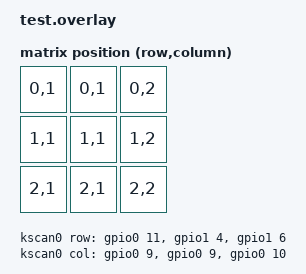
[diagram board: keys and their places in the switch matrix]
// kbd3x3.overlay
#include <dt-bindings/zmk/matrix_transform.h>

/ {
    kscan0: kscan0 {
        compatible = "zmk,kscan-gpio-matrix";
        diode-direction = "col2row"; 
        wakeup-source;

        col-gpios = <
            &gpio0 9 GPIO_ACTIVE_HIGH
            &gpio0 9 GPIO_PULL_DOWN
            &gpio0 10 GPIO_ACTIVE_HIGH
        >;

        row-gpios = <
            &gpio0 11 (GPIO_ACTIVE_HIGH | GPIO_PULL_DOWN)
            &gpio1 4  (GPIO_ACTIVE_HIGH | GPIO_PULL_DOWN)
            &gpio1 6  (GPIO_ACTIVE_HIGH | GPIO_PULL_DOWN)
        >;
    };

    default_transform: keymap_transform {
        compatible = "zmk,matrix-transform";
        columns = <3>;
        rows = <3>;

        columns = <3>;
        rows = <3>;

        map = <
            /* row0 */  RC(0,1)  RC(0,1)  RC(0,2)
            /* row1 */  RC(1,1)  RC(1,1)  RC(1,2)
            /* row2 */  RC(2,1)  RC(2,1)  RC(2,2)
        >;
    };

    physical_layout0: physical_layout_0 {
        compatible = "zmk,physical-layout";
        display-name = "3x3 Duplex Layout";
        kscan = <&kscan0>;
        transform = <&default_transform>;
    };

    chosen {
        zmk,kscan = <&kscan0>;
        zmk,matrix-transform = <&default_transform>;
    };
};
